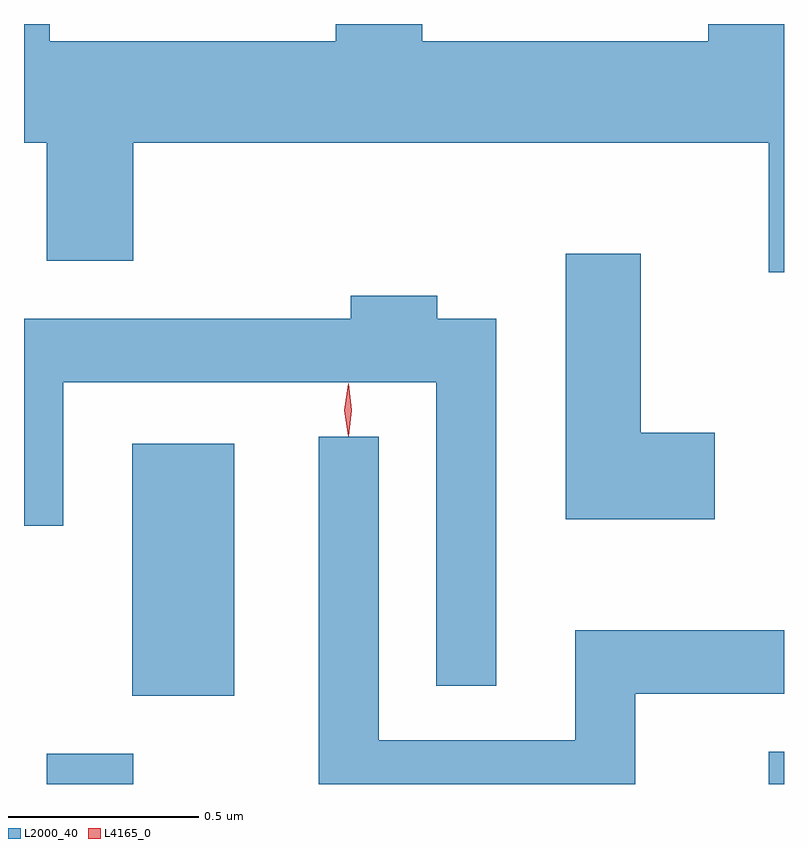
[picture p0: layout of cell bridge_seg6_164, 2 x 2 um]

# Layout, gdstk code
import gdstk
lib = gdstk.Library(unit=1e-6, precision=1e-09)
def R(c, l, rs):  # rectangles x0, y0, x1, y1
    for r in rs: c.add(gdstk.rectangle(r[:2], r[2:], *l))
def P(c, l, *ps):  # polygons
    for p in ps: c.add(gdstk.Polygon(p, *l))
L2000_40 = (2000, 40)
L4165_0 = (4165, 0)

bridge_seg6_164 = lib.new_cell('bridge_seg6_164')
R(bridge_seg6_164, L2000_40, [(1128.201,1572.769,1128.429,1572.849), (1130.101,1572.769,1130.141,1572.854), (1128.426,1573.001,1128.694,1573.664)])
P(bridge_seg6_164, L2000_40, [(1130.141,1574.769),(1129.941,1574.769),(1129.941,1574.724),(1129.189,1574.724),(1129.189,1574.769),(1128.961,1574.769),(1128.961,1574.724),(1128.209,1574.724),(1128.209,1574.769),(1128.141,1574.769),(1128.141,1574.456),(1128.201,1574.456),(1128.201,1574.146),(1128.429,1574.146),(1128.429,1574.456),(1130.101,1574.456),(1130.101,1574.116),(1130.141,1574.116)],
  [(1129.959,1573.694),(1129.764,1573.694),(1129.764,1574.164),(1129.566,1574.164),(1129.566,1573.466),(1129.959,1573.466)],
  [(1129.384,1573.994),(1129.229,1573.994),(1129.229,1574.054),(1129.001,1574.054),(1129.001,1573.994),(1128.141,1573.994),(1128.141,1573.448),(1128.244,1573.448),(1128.244,1573.826),(1129.226,1573.826),(1129.226,1573.028),(1129.384,1573.028)],
  [(1129.749,1573.006),(1130.141,1573.006),(1130.141,1573.174),(1129.591,1573.174),(1129.591,1572.884),(1129.074,1572.884),(1129.074,1573.683),(1128.916,1573.683),(1128.916,1572.769),(1129.749,1572.769)])
P(bridge_seg6_164, L4165_0, [(1128.994,1573.684),(1128.994,1573.684),(1128.984,1573.753),(1128.994,1573.822),(1128.994,1573.823),(1128.995,1573.822),(1129.004,1573.753),(1128.995,1573.684)])

lib.write_gds('bridge_seg6_164.gds')
